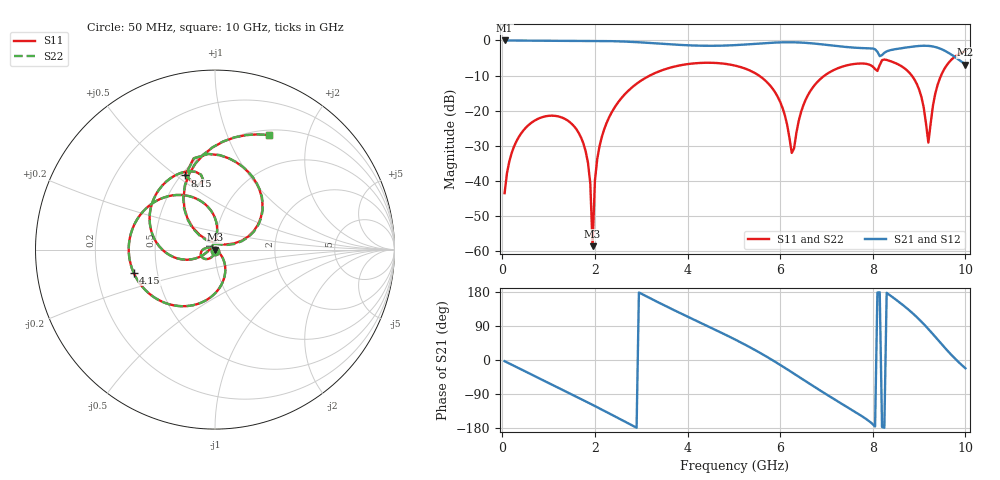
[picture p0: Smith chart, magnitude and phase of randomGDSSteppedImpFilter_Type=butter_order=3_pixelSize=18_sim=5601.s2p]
! freq	dB(S11)	phase(S11)	dB(S12)	phase(S12)
!  dB(S21)	phase(S21)	dB(S22)	phase(S22)
!S-par simulation data
#  GHz  S  DB  R 50
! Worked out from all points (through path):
!   200 points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, 50 MHz to 10 GHz, reference 50 ohm
!   highest |S21| = -0.01 dB at 50 MHz (marker M1); lowest = -6.9 dB at 10 GHz (marker M2)
!   group delay of S21, straight-line fit = 194 ps
!   lowest |S11| = -58.7 dB at 1.95 GHz (marker M3), VSWR 1.00, Z = 50.1 - j0.0902 ohm
!   |S11| at or under -10 dB: start of sweep to 3.187 GHz; 5.54 GHz to 6.962 GHz (1.422 GHz wide, 22.7 % of centre); 8.841 GHz to 9.476 GHz (635 MHz wide, 6.93 % of centre)
!   |S22| runs from -58.6 to -3.0 dB; largest |S21 - S12| = 0
!   S11 on the Smith chart (normalised r, x): 50 MHz: 1.00, -0.01; 4.15 GHz: 0.37, -0.12; 8.15 GHz: 0.52, +0.54; 10 GHz: 0.56, +1.42
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0.05  -43.54 -88.1  -0.01 -3.1  -0.01 -3.1  -43.54 -88.1
0.25  -30.36 -104.6  -0.03 -15.2  -0.03 -15.2  -30.36 -104.6
0.7  -22.84 -133.0  -0.08 -42.3  -0.08 -42.3  -22.84 -133.1
1.75  -29.33 163.1  -0.13 -106.0  -0.13 -106.0  -29.33 163.0
1.9  -40.72 153.8  -0.13 -115.3  -0.13 -115.3  -40.72 153.1
1.95  -58.65 -50.5  -0.14 -118.4  -0.14 -118.4  -58.56 0.1
2  -39.98 -32.4  -0.14 -121.5  -0.14 -121.5  -39.98 -31.7
2.05  -33.82 -35.5  -0.15 -124.6  -0.15 -124.6  -33.82 -35.2
2.25  -23.60 -48.2  -0.18 -137.3  -0.18 -137.3  -23.60 -48.0
3.4  -8.75 -120.3  -0.91 150.2  -0.91 150.2  -8.75 -120.3
4.15  -6.53 -164.2  -1.46 105.8  -1.46 105.8  -6.53 -164.2
5.05  -7.25 143.5  -1.33 52.6  -1.33 52.6  -7.25 143.6
5.9  -14.98 90.2  -0.61 -5.3  -0.61 -5.3  -14.98 90.3
6.25  -32.08 125.3  -0.53 -32.2  -0.53 -32.2  -31.94 125.6
6.7  -13.49 -166.2  -0.85 -67.7  -0.85 -67.7  -13.49 -166.3
7.6  -6.71 129.6  -2.06 -135.6  -2.06 -135.6  -6.71 129.5
8.15  -7.02 112.0  -4.47 178.7  -4.47 178.7  -7.01 111.7
8.35  -5.76 81.7  -2.88 172.8  -2.88 172.8  -5.76 81.4
8.95  -12.39 25.7  -1.64 113.3  -1.64 113.3  -12.39 24.9
9.2  -29.13 75.8  -1.55 81.8  -1.55 81.8  -29.95 75.1
9.45  -10.77 126.2  -2.31 47.0  -2.31 47.0  -10.79 126.8
10  -3.04 64.8  -6.87 -21.9  -6.87 -21.9  -3.04 64.9
